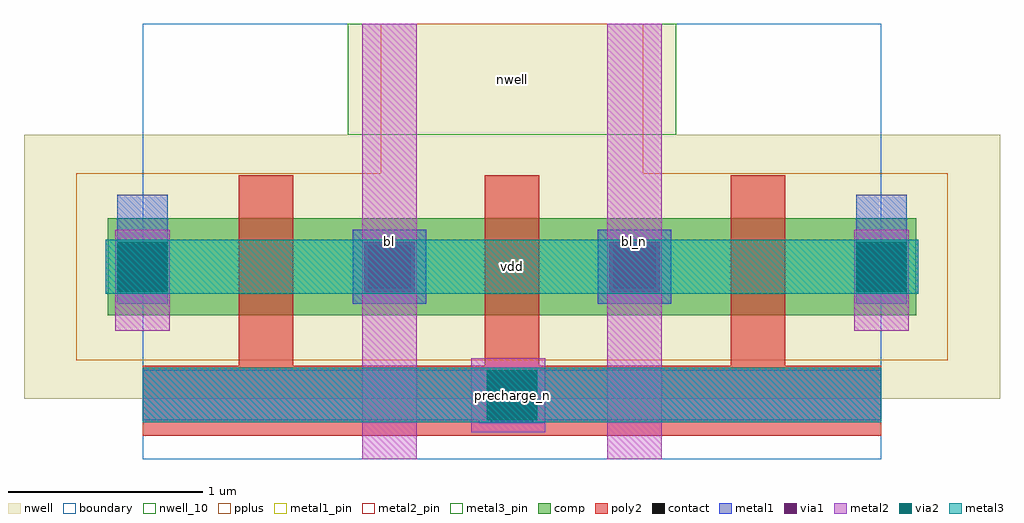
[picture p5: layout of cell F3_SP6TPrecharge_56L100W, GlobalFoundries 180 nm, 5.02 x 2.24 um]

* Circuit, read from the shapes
.subckt F3_SP6TPrecharge_56L100W bl bl_n nwell precharge_n vdd
XM1 bl precharge_n vdd nwell pfet_03v3 w=0.5u l=0.28u
XM2 bl_n precharge_n bl nwell pfet_03v3 w=0.5u l=0.28u
XM3 vdd precharge_n bl_n nwell pfet_03v3 w=0.5u l=0.28u
.ends

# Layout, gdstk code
import gdstk
lib = gdstk.Library(unit=1e-6, precision=1e-09)
def R(c, l, rs):  # rectangles x0, y0, x1, y1
    for r in rs: c.add(gdstk.rectangle(r[:2], r[2:], *l))
def P(c, l, *ps):  # polygons
    for p in ps: c.add(gdstk.Polygon(p, *l))
boundary = (0, 0)
nwell = (21, 0)
nwell_10 = (21, 10)
comp = (22, 0)
poly2 = (30, 0)
pplus = (31, 0)
contact = (33, 0)
metal1 = (34, 0)
metal1_pin = (34, 10)
via1 = (35, 0)
metal2 = (36, 0)
metal2_pin = (36, 10)
via2 = (38, 0)
metal3 = (42, 0)
metal3_pin = (42, 10)

f3_sp6tprecharge_56l100w = lib.new_cell('F3_SP6TPrecharge_56L100W')
R(f3_sp6tprecharge_56l100w, boundary, [(0,0,3.8,2.24)])
P(f3_sp6tprecharge_56l100w, nwell, [(-0.61,0.31),(-0.61,1.67),(1.055,1.67),(1.055,2.24),(2.745,2.24),(2.745,1.67),(4.41,1.67),(4.41,0.31)])
R(f3_sp6tprecharge_56l100w, nwell_10, [(1.055,1.67,2.745,2.24)])
R(f3_sp6tprecharge_56l100w, comp, [(-0.18,0.74,3.98,1.24)])
P(f3_sp6tprecharge_56l100w, poly2, [(0,0.12),(0,0.48),(0.495,0.48),(0.495,1.46),(0.775,1.46),(0.775,0.48),(1.76,0.48),(1.76,1.46),(2.04,1.46),(2.04,0.48),(3.025,0.48),(3.025,1.46),(3.305,1.46),(3.305,0.48),(3.8,0.48),(3.8,0.12)])
P(f3_sp6tprecharge_56l100w, pplus, [(-0.34,0.51),(-0.34,1.47),(1.225,1.47),(1.225,2.24),(2.575,2.24),(2.575,1.47),(4.14,1.47),(4.14,0.51)])
R(f3_sp6tprecharge_56l100w, contact, [(1.79,0.19,2.01,0.41), (-0.11,0.88,0.11,1.1), (1.16,0.88,1.38,1.1), (2.42,0.88,2.64,1.1), (3.69,0.88,3.91,1.1)])
R(f3_sp6tprecharge_56l100w, metal1, [(-0.13,0.8,0.13,1.36), (1.08,0.8,1.46,1.18), (2.34,0.8,2.72,1.18), (3.67,0.8,3.93,1.36)])
P(f3_sp6tprecharge_56l100w, metal1, [(1.73,0.185),(1.73,0.2),(0,0.2),(0,0.46),(3.8,0.46),(3.8,0.2),(2.07,0.2),(2.07,0.185)])
R(f3_sp6tprecharge_56l100w, metal1_pin, [(0,0.2,3.8,0.46)])
R(f3_sp6tprecharge_56l100w, via1, [(1.77,0.2,2.03,0.46), (-0.13,0.86,0.13,1.12), (1.14,0.86,1.4,1.12), (2.4,0.86,2.66,1.12), (3.67,0.86,3.93,1.12)])
R(f3_sp6tprecharge_56l100w, metal2, [(1.13,0,1.41,2.24), (2.39,0,2.67,2.24), (1.69,0.14,2.07,0.52), (-0.14,0.66,0.14,1.18), (3.66,0.66,3.94,1.18)])
R(f3_sp6tprecharge_56l100w, metal2_pin, [(1.13,0,1.41,2.24), (2.39,0,2.67,2.24)])
R(f3_sp6tprecharge_56l100w, via2, [(1.77,0.2,2.03,0.46), (-0.13,0.86,0.13,1.12), (3.67,0.86,3.93,1.12)])
R(f3_sp6tprecharge_56l100w, metal3, [(0,0.19,3.8,0.47), (-0.19,0.85,3.99,1.13)])
R(f3_sp6tprecharge_56l100w, metal3_pin, [(0,0.19,3.8,0.47), (-0.19,0.85,3.99,1.13)])
f3_sp6tprecharge_56l100w.add(gdstk.Label('precharge_n', (1.9,0.33), layer=34, texttype=10))
f3_sp6tprecharge_56l100w.add(gdstk.Label('nwell', (1.9,1.955), layer=21, texttype=10))
f3_sp6tprecharge_56l100w.add(gdstk.Label('vdd', (1.9,0.99), layer=42, texttype=10))
f3_sp6tprecharge_56l100w.add(gdstk.Label('precharge_n', (1.9,0.33), layer=42, texttype=10))
f3_sp6tprecharge_56l100w.add(gdstk.Label('bl_n', (2.53,1.12), layer=36, texttype=10))
f3_sp6tprecharge_56l100w.add(gdstk.Label('bl', (1.27,1.12), layer=36, texttype=10))

lib.write_gds('F3_SP6TPrecharge_56L100W.gds')
